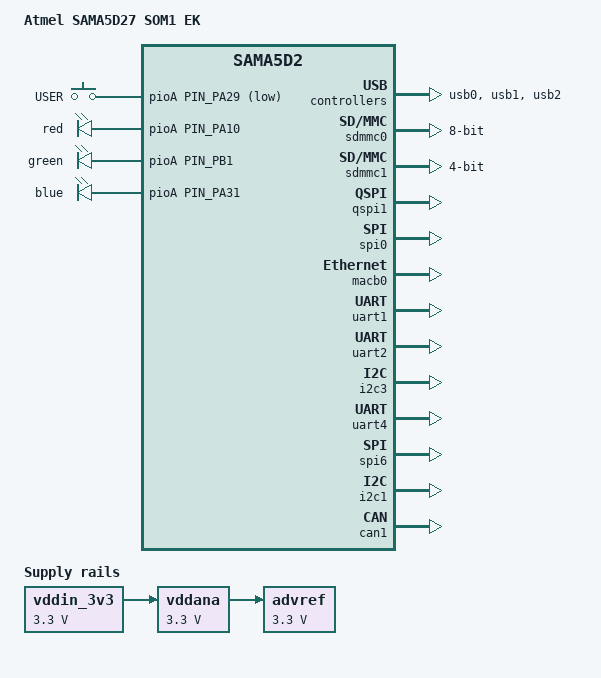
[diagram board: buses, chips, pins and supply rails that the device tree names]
// SPDX-License-Identifier: (GPL-2.0+ OR MIT)
/*
 * at91-sama5d27_som1_ek.dts - Device Tree file for SAMA5D27-SOM1-EK board
 *
 *  Copyright (c) 2017, Microchip Technology Inc.
 *                2016 Nicolas Ferre <nicolas.ferre@atmel.com>
 *                2017 Cristian Birsan <cristian.birsan@microchip.com>
 *                2017 Claudiu Beznea <claudiu.beznea@microchip.com>
 */
/dts-v1/;
#include "at91-sama5d27_som1.dtsi"
#include <dt-bindings/mfd/atmel-flexcom.h>
#include <dt-bindings/gpio/gpio.h>

/ {
	model = "Atmel SAMA5D27 SOM1 EK";
	compatible = "atmel,sama5d27-som1-ek", "atmel,sama5d27-som1", "atmel,sama5d27", "atmel,sama5d2", "atmel,sama5";

	aliases {
		serial0 = &uart1;	/* DBGU */
		serial1 = &uart4;	/* mikro BUS 1 */
		serial2 = &uart2;	/* mikro BUS 2 */
		i2c1	= &i2c1;
		i2c2	= &i2c3;
	};

	chosen {
		stdout-path = "serial0:115200n8";
	};

	ahb {
		usb0: gadget@300000 {
			atmel,vbus-gpio = <&pioA PIN_PD20 GPIO_ACTIVE_HIGH>;
			pinctrl-names = "default";
			pinctrl-0 = <&pinctrl_usba_vbus>;
			status = "okay";
		};

		usb1: ohci@400000 {
			num-ports = <3>;
			atmel,vbus-gpio = <0 /* &pioA PIN_PD20 GPIO_ACTIVE_HIGH */
					   &pioA PIN_PA27 GPIO_ACTIVE_HIGH
					   0
					  >;
			pinctrl-names = "default";
			pinctrl-0 = <&pinctrl_usb_default>;
			status = "okay";
		};

		usb2: ehci@500000 {
			status = "okay";
		};

		sdmmc0: sdio-host@a0000000 {
			bus-width = <8>;
			mmc-ddr-3_3v;
			pinctrl-names = "default";
			pinctrl-0 = <&pinctrl_sdmmc0_default>;
			status = "okay";
		};

		sdmmc1: sdio-host@b0000000 {
			bus-width = <4>;
			pinctrl-names = "default";
			pinctrl-0 = <&pinctrl_sdmmc1_default>;
			status = "okay";
		};

		apb {
			isc: isc@f0008000 {
				pinctrl-names = "default";
				pinctrl-0 = <&pinctrl_isc_base &pinctrl_isc_data_8bit &pinctrl_isc_data_9_10 &pinctrl_isc_data_11_12>;
				status = "okay";
			};

			qspi1: spi@f0024000 {
				status = "okay";
			};

			spi0: spi@f8000000 {
				pinctrl-names = "default";
				pinctrl-0 = <&pinctrl_spi0_default>;
				status = "okay";
			};

			macb0: ethernet@f8008000 {
				status = "okay";
			};

			tcb0: timer@f800c000 {
				timer0: timer@0 {
					compatible = "atmel,tcb-timer";
					reg = <0>;
				};

				timer1: timer@1 {
					compatible = "atmel,tcb-timer";
					reg = <1>;
				};
			};

			uart1: serial@f8020000 {
				pinctrl-names = "default";
				pinctrl-0 = <&pinctrl_uart1_default>;
				atmel,use-dma-rx;
				atmel,use-dma-tx;
				status = "okay";
			};

			uart2: serial@f8024000 {
				pinctrl-names = "default";
				pinctrl-0 = <&pinctrl_mikrobus2_uart>;
				atmel,use-dma-rx;
				atmel,use-dma-tx;
				status = "okay";
			};

			pwm0: pwm@f802c000 {
				pinctrl-names = "default";
				pinctrl-0 = <&pinctrl_mikrobus1_pwm &pinctrl_mikrobus2_pwm>;
				status = "disabled"; /* Conflict with leds. */
			};

			flx1: flexcom@f8038000 {
				atmel,flexcom-mode = <ATMEL_FLEXCOM_MODE_TWI>;
				status = "okay";

				i2c3: i2c@600 {
					dmas = <0>, <0>;
					i2c-analog-filter;
					i2c-digital-filter;
					i2c-digital-filter-width-ns = <35>;
					pinctrl-names = "default";
					pinctrl-0 = <&pinctrl_mikrobus_i2c>;
					status = "okay";
				};
			};

			shdwc@f8048010 {
				atmel,shdwc-debouncer = <976>;
				atmel,wakeup-rtc-timer;

				input@0 {
					reg = <0>;
					atmel,wakeup-type = "low";
				};
			};

			watchdog@f8048040 {
				status = "okay";
			};

			uart3: serial@fc008000 {
				atmel,use-dma-rx;
				atmel,use-dma-tx;
				pinctrl-names = "default";
				pinctrl-0 = <&pinctrl_uart3_default>;
				status = "disabled"; /* Conflict with isc. */
			};

			uart4: serial@fc00c000 {
				atmel,use-dma-rx;
				atmel,use-dma-tx;
				pinctrl-names = "default";
				pinctrl-0 = <&pinctrl_mikrobus1_uart>;
				status = "okay";
			};

			flx3: flexcom@fc014000 {
				atmel,flexcom-mode = <ATMEL_FLEXCOM_MODE_SPI>;
				status = "disabled";

				uart8: serial@200 {
					dmas = <0>, <0>;
					pinctrl-names = "default";
					pinctrl-0 = <&pinctrl_flx3_default>;
					status = "disabled"; /* Conflict with isc. */
				};

				spi5: spi@400 {
					dmas = <0>, <0>;
					pinctrl-names = "default";
					pinctrl-0 = <&pinctrl_flx3_default>;
					status = "disabled"; /* Conflict with isc. */
				};
			};

			flx4: flexcom@fc018000 {
				atmel,flexcom-mode = <ATMEL_FLEXCOM_MODE_SPI>;
				status = "okay";

				uart9: serial@200 {
					dmas = <0>, <0>;
					pinctrl-names = "default";
					pinctrl-0 = <&pinctrl_flx4_default>;
					status = "disabled"; /* Conflict with spi6 and i2c6. */
				};

				spi6: spi@400 {
					dmas = <0>, <0>;
					pinctrl-names = "default";
					pinctrl-0 = <&pinctrl_mikrobus_spi &pinctrl_mikrobus1_spi_cs &pinctrl_mikrobus2_spi_cs>;
					status = "okay"; /* Conflict with uart5 and i2c6. */
				};

				i2c6: i2c@600 {
					dmas = <0>, <0>;
					pinctrl-names = "default";
					pinctrl-0 = <&pinctrl_flx4_default>;
					status = "disabled"; /* Conflict with uart5 and spi6. */
				};
			};

			i2c1: i2c@fc028000 {
				dmas = <0>, <0>;
				i2c-analog-filter;
				i2c-digital-filter;
				i2c-digital-filter-width-ns = <35>;
				pinctrl-names = "default";
				pinctrl-0 = <&pinctrl_i2c1_default>;
				status = "okay";
			};

			adc: adc@fc030000 {
				vddana-supply = <&vddana>;
				vref-supply = <&advref>;

				status = "disabled";
			};

			pinctrl@fc038000 {

				pinctrl_can1_default: can1_default {
					pinmux = <PIN_PC26__CANTX1>,
						 <PIN_PC27__CANRX1>;
					bias-disable;
				};

				pinctrl_flx3_default: flx3_default {
					pinmux = <PIN_PC20__FLEXCOM3_IO0>,
						 <PIN_PC19__FLEXCOM3_IO1>,
						 <PIN_PC18__FLEXCOM3_IO2>,
						 <PIN_PC21__FLEXCOM3_IO3>,
						 <PIN_PC22__FLEXCOM3_IO4>;
					bias-disable;
				};

				pinctrl_i2c1_default: i2c1_default {
					pinmux = <PIN_PD4__TWD1>,
						 <PIN_PD5__TWCK1>;
					bias-disable;
				};

				pinctrl_isc_base: isc_base {
					pinmux = <PIN_PC21__ISC_PCK>,
						 <PIN_PC22__ISC_VSYNC>,
						 <PIN_PC23__ISC_HSYNC>,
						 <PIN_PC24__ISC_MCK>;
					bias-disable;
				};

				pinctrl_isc_data_8bit: isc_data_8bit {
					pinmux = <PIN_PC20__ISC_D11>,
						 <PIN_PC19__ISC_D10>,
						 <PIN_PC18__ISC_D9>,
						 <PIN_PC17__ISC_D8>,
						 <PIN_PC16__ISC_D7>,
						 <PIN_PC15__ISC_D6>,
						 <PIN_PC14__ISC_D5>,
						 <PIN_PC13__ISC_D4>;
					bias-disable;
				};

				pinctrl_isc_data_9_10: isc_data_9_10 {
					pinmux = <PIN_PC12__ISC_D3>,
						 <PIN_PC11__ISC_D2>;
					bias-disable;
				};

				pinctrl_isc_data_11_12: isc_data_11_12 {
					pinmux = <PIN_PC10__ISC_D1>,
						 <PIN_PC9__ISC_D0>;
					bias-disable;
				};

				pinctrl_key_gpio_default: key_gpio_default {
					pinmux = <PIN_PA29__GPIO>;
					bias-pull-up;
				};

				pinctrl_led_gpio_default: led_gpio_default {
					pinmux = <PIN_PA10__GPIO>,
						 <PIN_PB1__GPIO>,
						 <PIN_PA31__GPIO>;
					bias-pull-up;
				};

				pinctrl_sdmmc0_default: sdmmc0_default {
					cmd_data {
						pinmux = <PIN_PA1__SDMMC0_CMD>,
							 <PIN_PA2__SDMMC0_DAT0>,
							 <PIN_PA3__SDMMC0_DAT1>,
							 <PIN_PA4__SDMMC0_DAT2>,
							 <PIN_PA5__SDMMC0_DAT3>,
							 <PIN_PA6__SDMMC0_DAT4>,
							 <PIN_PA7__SDMMC0_DAT5>,
							 <PIN_PA8__SDMMC0_DAT6>,
							 <PIN_PA9__SDMMC0_DAT7>;
						bias-disable;
					};

					ck_cd_vddsel {
						pinmux = <PIN_PA0__SDMMC0_CK>,
							 <PIN_PA11__SDMMC0_VDDSEL>,
							 <PIN_PA13__SDMMC0_CD>;
						bias-disable;
					};
				};

				pinctrl_sdmmc1_default: sdmmc1_default {
					cmd_data {
						pinmux = <PIN_PA28__SDMMC1_CMD>,
							 <PIN_PA18__SDMMC1_DAT0>,
							 <PIN_PA19__SDMMC1_DAT1>,
							 <PIN_PA20__SDMMC1_DAT2>,
							 <PIN_PA21__SDMMC1_DAT3>;
						bias-disable;
					};

					conf-ck_cd {
						pinmux = <PIN_PA22__SDMMC1_CK>,
							 <PIN_PA30__SDMMC1_CD>;
						bias-disable;
					};
				};

				pinctrl_spi0_default: spi0_default {
					pinmux = <PIN_PA14__SPI0_SPCK>,
						 <PIN_PA15__SPI0_MOSI>,
						 <PIN_PA16__SPI0_MISO>,
						 <PIN_PA17__SPI0_NPCS0>;
					bias-disable;
				};

				pinctrl_uart1_default: uart1_default {
					pinmux = <PIN_PD2__URXD1>,
						 <PIN_PD3__UTXD1>;
					bias-disable;
				};

				pinctrl_uart3_default: uart3_default {
					pinmux = <PIN_PC12__URXD3>,
						 <PIN_PC13__UTXD3>;
					bias-disable;
				};

				pinctrl_usb_default: usb_default {
					pinmux = <PIN_PA27__GPIO>,
						 <PIN_PD19__GPIO>;
					bias-disable;
				};

				pinctrl_usba_vbus: usba_vbus {
					pinmux = <PIN_PD20__GPIO>;
					bias-disable;
				};

				pinctrl_mikrobus1_an: mikrobus1_an {
					pinmux = <PIN_PD25__GPIO>;
					bias-disable;
				};

				pinctrl_mikrobus2_an: mikrobus2_an {
					pinmux = <PIN_PD26__GPIO>;
					bias-disable;
				};

				pinctrl_mikrobus1_rst: mikrobus1_rst {
					pinmux = <PIN_PB2__GPIO>;
					bias-disable;
				};

				pinctrl_mikrobus2_rst: mikrobus2_rst {
					pinmux = <PIN_PA26__GPIO>;
					bias-disable;
				};

				pinctrl_mikrobus1_spi_cs: mikrobus1_spi_cs {
					pinmux = <PIN_PD0__FLEXCOM4_IO4>;
					bias-disable;
				};

				pinctrl_mikrobus2_spi_cs: mikrobus2_spi_cs {
					pinmux = <PIN_PC31__FLEXCOM4_IO3>;
					bias-disable;
				};

				pinctrl_mikrobus_spi: mikrobus_spi {
					pinmux = <PIN_PC28__FLEXCOM4_IO0>,
						 <PIN_PC29__FLEXCOM4_IO1>,
						 <PIN_PC30__FLEXCOM4_IO2>;
					bias-disable;
				};

				pinctrl_mikrobus1_pwm: mikrobus1_pwm {
					pinmux = <PIN_PB1__PWML1>;
					bias-disable;
				};

				pinctrl_mikrobus2_pwm: mikrobus2_pwm {
					pinmux = <PIN_PA31__PWML0>;
					bias-disable;
				};

				pinctrl_mikrobus1_int: mikrobus1_int {
					pinmux = <PIN_PB0__GPIO>;
					bias-disable;
				};

				pinctrl_mikrobus2_int: mikrobus2_int {
					pinmux = <PIN_PA25__GPIO>;
					bias-disable;
				};

				pinctrl_mikrobus1_uart: mikrobus1_uart {
					pinmux = <PIN_PB3__URXD4>,
						 <PIN_PB4__UTXD4>;
					bias-disable;
				};

				pinctrl_mikrobus2_uart: mikrobus2_uart {
					pinmux = <PIN_PD23__URXD2>,
						 <PIN_PD24__UTXD2>;
					bias-disable;
				};

				pinctrl_mikrobus_i2c: mikrobus1_i2c {
					pinmux = <PIN_PA24__FLEXCOM1_IO0>,
						 <PIN_PA23__FLEXCOM1_IO1>;
					bias-disable;
				};

				pinctrl_flx4_default: flx4_uart_default {
					pinmux = <PIN_PC28__FLEXCOM4_IO0>,
						 <PIN_PC29__FLEXCOM4_IO1>,
						 <PIN_PC30__FLEXCOM4_IO2>,
						 <PIN_PC31__FLEXCOM4_IO3>,
						 <PIN_PD0__FLEXCOM4_IO4>;
					bias-disable;
				};
			};

			can1: can@fc050000 {
				pinctrl-names = "default";
				pinctrl-0 = <&pinctrl_can1_default>;
				status = "okay";
			};
		};
	};

	gpio_keys {
		compatible = "gpio-keys";

		pinctrl-names = "default";
		pinctrl-0 = <&pinctrl_key_gpio_default>;

		pb4 {
			label = "USER";
			gpios = <&pioA PIN_PA29 GPIO_ACTIVE_LOW>;
			linux,code = <0x104>;
			wakeup-source;
		};
	};

	leds {
		compatible = "gpio-leds";
		pinctrl-names = "default";
		pinctrl-0 = <&pinctrl_led_gpio_default>;
		status = "okay"; /* Conflict with pwm0. */

		red {
			label = "red";
			gpios = <&pioA PIN_PA10 GPIO_ACTIVE_HIGH>;
		};

		green {
			label = "green";
			gpios = <&pioA PIN_PB1 GPIO_ACTIVE_HIGH>;
		};

		blue {
			label = "blue";
			gpios = <&pioA PIN_PA31 GPIO_ACTIVE_HIGH>;
			linux,default-trigger = "heartbeat";
		};
	};

	vddin_3v3: fixed-regulator-vddin_3v3 {
		compatible = "regulator-fixed";

		regulator-name = "VDDIN_3V3";
		regulator-min-microvolt = <3300000>;
		regulator-max-microvolt = <3300000>;
		regulator-always-on;
		regulator-boot-on;
		status = "okay";
	};

	vddana: fixed-regulator-vddana {
		compatible = "regulator-fixed";

		regulator-name = "VDDANA";
		regulator-min-microvolt = <3300000>;
		regulator-max-microvolt = <3300000>;
		regulator-always-on;
		regulator-boot-on;
		vin-supply = <&vddin_3v3>;
		status = "okay";
	};

	advref: fixed-regulator-advref {
		compatible = "regulator-fixed";

		regulator-name = "advref";
		regulator-min-microvolt = <3300000>;
		regulator-max-microvolt = <3300000>;
		regulator-always-on;
		regulator-boot-on;
		vin-supply = <&vddana>;
		status = "okay";
	};
};
